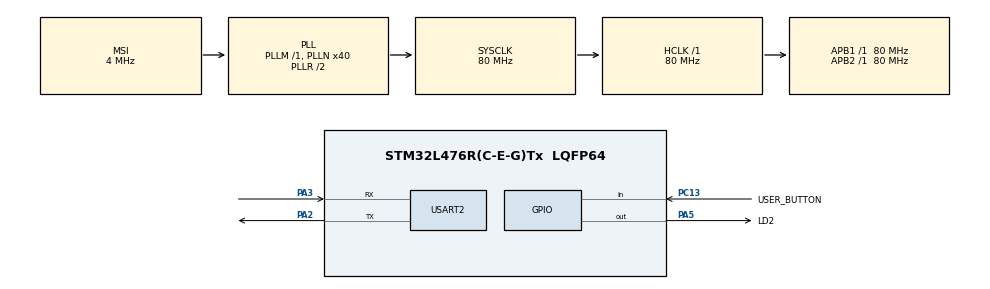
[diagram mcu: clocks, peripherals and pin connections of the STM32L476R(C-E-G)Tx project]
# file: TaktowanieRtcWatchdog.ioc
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IWDG.Prescaler=IWDG_PRESCALER_32
Mcu.Family=STM32L4
Mcu.Name=STM32L476R(C-E-G)Tx
Mcu.Package=LQFP64
NVIC.PriorityGroup=NVIC_PRIORITYGROUP_4
PA13\ (JTMS-SWDIO).Mode=Serial_Wire
PA13\ (JTMS-SWDIO).Signal=SYS_JTMS-SWDIO
PA14\ (JTCK-SWCLK).Mode=Serial_Wire
PA14\ (JTCK-SWCLK).Signal=SYS_JTCK-SWCLK
PA2.Mode=Asynchronous
PA2.Signal=USART2_TX
PA3.Mode=Asynchronous
PA3.Signal=USART2_RX
PA5.GPIO_Label=LD2
PA5.Signal=GPIO_Output
PC13.GPIO_Label=USER_BUTTON
PC13.Signal=GPIO_Input
PC14-OSC32_IN\ (PC14).Mode=LSE-External-Oscillator
PC14-OSC32_IN\ (PC14).Signal=RCC_OSC32_IN
PC15-OSC32_OUT\ (PC15).Mode=LSE-External-Oscillator
PC15-OSC32_OUT\ (PC15).Signal=RCC_OSC32_OUT
ProjectManager.HeapSize=0x200
ProjectManager.StackSize=0x400
ProjectManager.TargetToolchain=STM32CubeIDE
RCC.AHBFreq_Value=80000000
RCC.APB1Freq_Value=80000000
RCC.APB1TimFreq_Value=80000000
RCC.APB2Freq_Value=80000000
RCC.APB2TimFreq_Value=80000000
RCC.CortexFreq_Value=80000000
RCC.HCLKFreq_Value=80000000
RCC.HSE_VALUE=8000000
RCC.HSI_VALUE=16000000
RCC.MSI_VALUE=4000000
RCC.PLLN=40
RCC.RTCClockSelection=RCC_RTCCLKSOURCE_LSE
RCC.SYSCLKFreq_VALUE=80000000
RCC.SYSCLKSource=RCC_SYSCLKSOURCE_PLLCLK
RCC.VCOOutputFreq_Value=160000000
USART2.VirtualMode-Asynchronous=VM_ASYNC
VP_IWDG_VS_IWDG.Mode=IWDG_Activate
VP_RTC_VS_RTC_Activate.Mode=RTC_Enabled
board=custom

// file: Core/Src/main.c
/* USER CODE BEGIN Header */
/**
  ******************************************************************************
  * @file           : main.c
  * @brief          : Main program body
  ******************************************************************************
  * @attention
  *
  * Copyright (c) 2025 STMicroelectronics.
  * All rights reserved.
  *
  * This software is licensed under terms that can be found in the LICENSE file
  * in the root directory of this software component.
  * If no LICENSE file comes with this software, it is provided AS-IS.
  *
  ******************************************************************************
  */
/* USER CODE END Header */
#include "main.h"

/* USER CODE BEGIN Includes */
#include <stdio.h>
#include <string.h>
#include <stdbool.h>

/* USER CODE END Includes */

IWDG_HandleTypeDef hiwdg;

RTC_HandleTypeDef hrtc;

UART_HandleTypeDef huart2;

void SystemClock_Config(void);
static void MX_GPIO_Init(void);
static void MX_RTC_Init(void);
static void MX_USART2_UART_Init(void);
static void MX_IWDG_Init(void);

/* USER CODE BEGIN 0 */
int __io_putchar(int ch)
{
	  if(ch=='\n')
	  {
		  uint8_t ch2 = '\r';
		  HAL_UART_Transmit(&huart2, &ch2, 1, HAL_MAX_DELAY);
	  }
	  HAL_UART_Transmit(&huart2, (uint8_t*)&ch, 1, HAL_MAX_DELAY);
	  return 1;
}

bool is_button_pressed(void)
{
	  if(HAL_GPIO_ReadPin(USER_BUTTON_GPIO_Port, USER_BUTTON_Pin)== GPIO_PIN_RESET)
	  {
		  return true;
	  } else {
	  return false;}
}
/* USER CODE END 0 */

int main(void)
{

  /* MCU Configuration--------------------------------------------------------*/

  /* Reset of all peripherals, Initializes the Flash interface and the Systick. */
  HAL_Init();

  /* Configure the system clock */
  SystemClock_Config();

  /* Initialize all configured peripherals */
  MX_GPIO_Init();
  MX_RTC_Init();
  MX_USART2_UART_Init();
  MX_IWDG_Init();
  /* USER CODE BEGIN 2 */

//  int i;
  	uint32_t last_ms = HAL_GetTick();
//  for(i=0; i<10; i++)
//  {
//	  HAL_GPIO_TogglePin(LD2_GPIO_Port, LD2_Pin);
//	  HAL_Delay(200);
//  }
  /* USER CODE END 2 */

  /* Infinite loop */
  /* USER CODE BEGIN WHILE */
  while (1)
  {
	  uint32_t now = HAL_GetTick();
	  if(is_button_pressed()) { while(1){}};
	  if(now - last_ms >=500)
	  {
		  HAL_GPIO_TogglePin(LD2_GPIO_Port, LD2_Pin);
		  last_ms = now;
		  HAL_IWDG_Refresh(&hiwdg);
	  }
//	  RTC_TimeTypeDef time;
//	  RTC_DateTypeDef date;
//	  RTC_DateTypeDef today;
//
//
//	  if(is_button_pressed())
//	  {
//		  RTC_TimeTypeDef new_time = {0};
//
//		  while(is_button_pressed()) {}
//
//		  today.Year = 25;
//		  today.Month = 04;
//		  today.Date =18;
//		  today.WeekDay = RTC_WEEKDAY_FRIDAY;
//		  new_time.Hours = 7;
//		  new_time.Minutes = 45;
//		  new_time.Seconds = 0;
//		  HAL_RTC_SetTime(&hrtc, &new_time, RTC_FORMAT_BIN);
//		  HAL_RTC_SetDate(&hrtc, &today, RTC_FORMAT_BIN);
//	  }
//	  HAL_RTC_GetTime(&hrtc, &time, RTC_FORMAT_BIN);
//	  HAL_RTC_GetDate(&hrtc, &date, RTC_FORMAT_BIN);
//
//	  printf("RTC: %04d-%02d-%02d, %02d:%02d:%02d\n",2000+date.Year,date.Month,date.Date, time.Hours,time.Minutes,time.Seconds);
//	  HAL_Delay(200);
    /* USER CODE END WHILE */

  }
}

void SystemClock_Config(void)
{
  RCC_OscInitTypeDef RCC_OscInitStruct = {0};
  RCC_ClkInitTypeDef RCC_ClkInitStruct = {0};

  /** Configure the main internal regulator output voltage
  */
  if (HAL_PWREx_ControlVoltageScaling(PWR_REGULATOR_VOLTAGE_SCALE1) != HAL_OK)
  {
    Error_Handler();
  }

  /** Configure LSE Drive Capability
  */
  HAL_PWR_EnableBkUpAccess();
  __HAL_RCC_LSEDRIVE_CONFIG(RCC_LSEDRIVE_LOW);

  /** Initializes the RCC Oscillators according to the specified parameters
  * in the RCC_OscInitTypeDef structure.
  */
  RCC_OscInitStruct.OscillatorType = RCC_OSCILLATORTYPE_LSI|RCC_OSCILLATORTYPE_LSE
                              |RCC_OSCILLATORTYPE_MSI;
  RCC_OscInitStruct.LSEState = RCC_LSE_ON;
  RCC_OscInitStruct.LSIState = RCC_LSI_ON;
  RCC_OscInitStruct.MSIState = RCC_MSI_ON;
  RCC_OscInitStruct.MSICalibrationValue = 0;
  RCC_OscInitStruct.MSIClockRange = RCC_MSIRANGE_6;
  RCC_OscInitStruct.PLL.PLLState = RCC_PLL_ON;
  RCC_OscInitStruct.PLL.PLLSource = RCC_PLLSOURCE_MSI;
  RCC_OscInitStruct.PLL.PLLM = 1;
  RCC_OscInitStruct.PLL.PLLN = 40;
  RCC_OscInitStruct.PLL.PLLP = RCC_PLLP_DIV7;
  RCC_OscInitStruct.PLL.PLLQ = RCC_PLLQ_DIV2;
  RCC_OscInitStruct.PLL.PLLR = RCC_PLLR_DIV2;
  if (HAL_RCC_OscConfig(&RCC_OscInitStruct) != HAL_OK)
  {
    Error_Handler();
  }

  /** Initializes the CPU, AHB and APB buses clocks
  */
  RCC_ClkInitStruct.ClockType = RCC_CLOCKTYPE_HCLK|RCC_CLOCKTYPE_SYSCLK
                              |RCC_CLOCKTYPE_PCLK1|RCC_CLOCKTYPE_PCLK2;
  RCC_ClkInitStruct.SYSCLKSource = RCC_SYSCLKSOURCE_PLLCLK;
  RCC_ClkInitStruct.AHBCLKDivider = RCC_SYSCLK_DIV1;
  RCC_ClkInitStruct.APB1CLKDivider = RCC_HCLK_DIV1;
  RCC_ClkInitStruct.APB2CLKDivider = RCC_HCLK_DIV1;

  if (HAL_RCC_ClockConfig(&RCC_ClkInitStruct, FLASH_LATENCY_4) != HAL_OK)
  {
    Error_Handler();
  }

  /** Enable MSI Auto calibration
  */
  HAL_RCCEx_EnableMSIPLLMode();
}

static void MX_IWDG_Init(void)
{

  hiwdg.Instance = IWDG;
  hiwdg.Init.Prescaler = IWDG_PRESCALER_32;
  hiwdg.Init.Window = 4095;
  hiwdg.Init.Reload = 4095;
  if (HAL_IWDG_Init(&hiwdg) != HAL_OK)
  {
    Error_Handler();
  }

}

static void MX_RTC_Init(void)
{

  /** Initialize RTC Only
  */
  hrtc.Instance = RTC;
  hrtc.Init.HourFormat = RTC_HOURFORMAT_24;
  hrtc.Init.AsynchPrediv = 127;
  hrtc.Init.SynchPrediv = 255;
  hrtc.Init.OutPut = RTC_OUTPUT_DISABLE;
  hrtc.Init.OutPutRemap = RTC_OUTPUT_REMAP_NONE;
  hrtc.Init.OutPutPolarity = RTC_OUTPUT_POLARITY_HIGH;
  hrtc.Init.OutPutType = RTC_OUTPUT_TYPE_OPENDRAIN;
  if (HAL_RTC_Init(&hrtc) != HAL_OK)
  {
    Error_Handler();
  }

}

static void MX_USART2_UART_Init(void)
{

  huart2.Instance = USART2;
  huart2.Init.BaudRate = 115200;
  huart2.Init.WordLength = UART_WORDLENGTH_8B;
  huart2.Init.StopBits = UART_STOPBITS_1;
  huart2.Init.Parity = UART_PARITY_NONE;
  huart2.Init.Mode = UART_MODE_TX_RX;
  huart2.Init.HwFlowCtl = UART_HWCONTROL_NONE;
  huart2.Init.OverSampling = UART_OVERSAMPLING_16;
  huart2.Init.OneBitSampling = UART_ONE_BIT_SAMPLE_DISABLE;
  huart2.AdvancedInit.AdvFeatureInit = UART_ADVFEATURE_NO_INIT;
  if (HAL_UART_Init(&huart2) != HAL_OK)
  {
    Error_Handler();
  }

}

static void MX_GPIO_Init(void)
{
  GPIO_InitTypeDef GPIO_InitStruct = {0};

  /* GPIO Ports Clock Enable */
  __HAL_RCC_GPIOC_CLK_ENABLE();
  __HAL_RCC_GPIOA_CLK_ENABLE();

  /*Configure GPIO pin Output Level */
  HAL_GPIO_WritePin(LD2_GPIO_Port, LD2_Pin, GPIO_PIN_RESET);

  /*Configure GPIO pin : USER_BUTTON_Pin */
  GPIO_InitStruct.Pin = USER_BUTTON_Pin;
  GPIO_InitStruct.Mode = GPIO_MODE_INPUT;
  GPIO_InitStruct.Pull = GPIO_NOPULL;
  HAL_GPIO_Init(USER_BUTTON_GPIO_Port, &GPIO_InitStruct);

  /*Configure GPIO pin : LD2_Pin */
  GPIO_InitStruct.Pin = LD2_Pin;
  GPIO_InitStruct.Mode = GPIO_MODE_OUTPUT_PP;
  GPIO_InitStruct.Pull = GPIO_NOPULL;
  GPIO_InitStruct.Speed = GPIO_SPEED_FREQ_LOW;
  HAL_GPIO_Init(LD2_GPIO_Port, &GPIO_InitStruct);

}

void Error_Handler(void)
{
  __disable_irq();
  while (1)
  {
  }
}
